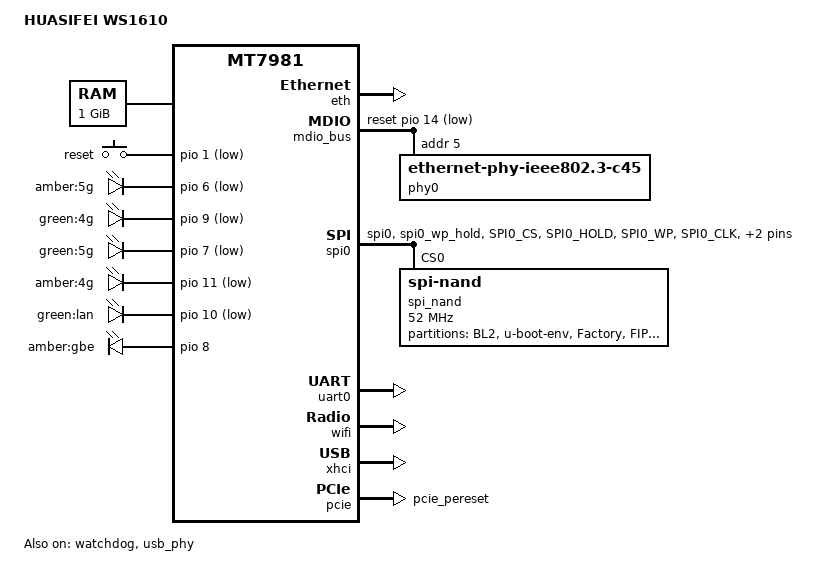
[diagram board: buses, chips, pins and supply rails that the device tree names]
/dts-v1/;

#include <dt-bindings/gpio/gpio.h>
#include <dt-bindings/input/input.h>
#include <dt-bindings/leds/common.h>
#include "mt7981.dtsi"

/ {
	model = "HUASIFEI WS1610";
	compatible = "huasifei,ws1610", "mediatek,mt7981";

	aliases {
		serial0 = &uart0;
		led-boot = &led_status_lan;
		led-failsafe = &led_status_lan;
		led-running = &led_status_lan;
		led-upgrade = &led_status_lan;
	};

	memory@40000000 {
		reg = <0 0x40000000 0 0x40000000>;
	};
	
	chosen {
		stdout-path = "serial0:115200n8";
	};

	gpio-keys {
		compatible = "gpio-keys";

		button-reset {
			label = "reset";
			linux,code = <KEY_RESTART>;
			gpios = <&pio 1 GPIO_ACTIVE_LOW>;
		};
	};

	leds {
		compatible = "gpio-leds";

		led_status_red: red {
			label = "amber:5g";
			gpios = <&pio 6 GPIO_ACTIVE_LOW>;
		};

		led_status_green: green {
			label = "green:4g";
			gpios = <&pio 9 GPIO_ACTIVE_LOW>;
		};
		
		led_status_blue: blue {
			label = "green:5g";
			gpios = <&pio 7 GPIO_ACTIVE_LOW>;
		};
		
		led_status_4g: 4g {
			label = "amber:4g";
			gpios = <&pio 11 GPIO_ACTIVE_LOW>;
		};
		
		led_status_lan: lan {
			label = "green:lan";
			gpios = <&pio 10 GPIO_ACTIVE_LOW>;
		};
		
		led_status_wan: wan {
			label = "amber:gbe";
			gpios = <&pio 8 GPIO_ACTIVE_HIGH>;
		};

	};
};

&eth {
	pinctrl-names = "default";
	pinctrl-0 = <&mdio_pins>;

	status = "okay";

	gmac0: mac@0 {
		compatible = "mediatek,eth-mac";
		reg = <0>;
		phy-mode = "2500base-x";
		phy-handle = <&phy0>;
		nvmem-cells = <&macaddr 0>;
		nvmem-cell-names = "mac-address";
	};

	gmac1: mac@1 {
		compatible = "mediatek,eth-mac";
		reg = <1>;
		phy-mode = "gmii";
		phy-handle = <&int_gbe_phy>;
		nvmem-cells = <&macaddr 1>;
		nvmem-cell-names = "mac-address";
	};
};

&mdio_bus {
	reset-gpios = <&pio 14 GPIO_ACTIVE_LOW>;
	reset-delay-us = <600>;
	reset-post-delay-us = <20000>;

	phy0: ethernet-phy@5 {
		reg = <5>;
		compatible = "ethernet-phy-ieee802.3-c45";
		phy-mode = "2500base-x";
	};
};

&spi0 {
	pinctrl-names = "default";
	pinctrl-0 = <&spi0_flash_pins>;
	status = "okay";

	spi_nand: flash@0 {
		#address-cells = <1>;
		#size-cells = <1>;
		compatible = "spi-nand";
		reg = <0>;
		spi-max-frequency = <52000000>;

		spi-cal-enable;
		spi-cal-mode = "read-data";
		spi-cal-datalen = <7>;
		spi-cal-data = /bits/ 8 <0x53 0x50 0x49 0x4E 0x41 0x4E 0x44>;
		spi-cal-addrlen = <5>;
		spi-cal-addr = /bits/ 32 <0x0 0x0 0x0 0x0 0x0>;

		spi-tx-bus-width = <4>;
		spi-rx-bus-width = <4>;
		mediatek,nmbm;
		mediatek,bmt-max-ratio = <1>;
		mediatek,bmt-max-reserved-blocks = <64>;

		partitions {
			compatible = "fixed-partitions";
			#address-cells = <1>;
			#size-cells = <1>;

			partition@0 {
				label = "BL2";
				reg = <0x00000 0x0100000>;
				read-only;
			};

			partition@100000 {
				label = "u-boot-env";
				reg = <0x0100000 0x0080000>;
			};

			factory: partition@180000 {
				label = "Factory";
				reg = <0x180000 0x0200000>;
				read-only;

				nvmem-layout {
					compatible = "fixed-layout";
					#address-cells = <1>;
					#size-cells = <1>;

					macaddr: macaddr@a {
						compatible = "mac-base";
						reg = <0xa 0x6>;
						#nvmem-cell-cells = <1>;
					};
				};
			};

			partition@380000 {
				label = "FIP";
				reg = <0x380000 0x0200000>;
				read-only;
			};

			partition@580000 {
				label = "log";
				reg = <0x580000 0x0040000>;
			};

			partition@5c0000 {
				label = "ubi";
				reg = <0x5c0000 0xf640000>;
				compatible = "linux,ubi";
			};
		};
	};
};

&pio {
	spi0_flash_pins: spi0-pins {
		mux {
			function = "spi";
			groups = "spi0", "spi0_wp_hold";
		};

		conf-pu {
			pins = "SPI0_CS", "SPI0_HOLD", "SPI0_WP";
			drive-strength = <8>;
			mediatek,pull-up-adv = <0>; /* bias-disable */
		};

		conf-pd {
			pins = "SPI0_CLK", "SPI0_MOSI", "SPI0_MISO";
			drive-strength = <8>;
			mediatek,pull-up-adv = <0>; /* bias-disable */
		};
	};
	
	pcie_pins: pcie-pins {
		mux {
			function = "pcie";
			groups = "pcie_pereset";
		};
	};
};

&uart0 {
	status = "okay";
};

&watchdog {
	status = "okay";
};

&wifi {
	mediatek,mtd-eeprom = <&factory 0x0>;

	status = "okay";
};

&usb_phy {
	status = "okay";
};

&xhci {
	status = "okay";
};

&pcie {
	pinctrl-names = "default";
	pinctrl-0 = <&pcie_pins>;
	status = "okay";
};

&factory {
	compatible = "nvmem-cells";
	#address-cells = <1>;
	#size-cells = <1>;

	macaddr_factory_004: macaddr@4 {
		reg = <0x004 0x6>;
	};
};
